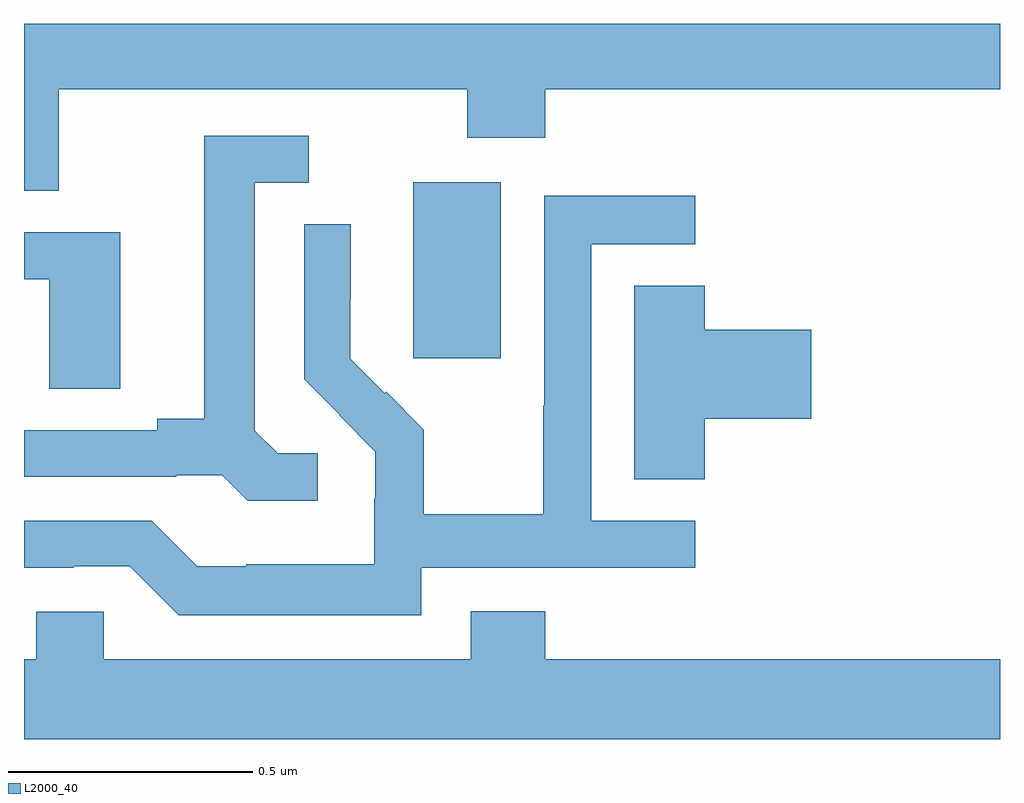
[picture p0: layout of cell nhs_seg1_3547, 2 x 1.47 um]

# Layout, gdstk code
import gdstk
lib = gdstk.Library(unit=1e-6, precision=1e-09)
def R(c, l, rs):  # rectangles x0, y0, x1, y1
    for r in rs: c.add(gdstk.rectangle(r[:2], r[2:], *l))
def P(c, l, *ps):  # polygons
    for p in ps: c.add(gdstk.Polygon(p, *l))
L2000_40 = (2000, 40)

nhs_seg1_3547 = lib.new_cell('nhs_seg1_3547')
R(nhs_seg1_3547, L2000_40, [(155.798,552.513,155.977,552.874)])
P(nhs_seg1_3547, L2000_40, [(155.071,553.064),(155.908,553.064),(155.908,552.965),(156.068,552.965),(156.068,553.064),(157,553.064),(157,553.199),(155,553.199),(155,552.856),(155.071,552.856)],
  [(155.602,552.318),(155.52,552.318),(155.473,552.365),(155.473,552.873),(155.584,552.873),(155.584,552.969),(155.369,552.969),(155.369,552.389),(155.273,552.389),(155.273,552.366),(155,552.366),(155,552.27),(155.312,552.27),(155.312,552.273),(155.406,552.273),(155.458,552.221),(155.602,552.221)],
  [(155.814,552.084),(156.376,552.084),(156.376,552.18),(156.162,552.18),(156.162,552.747),(156.376,552.747),(156.376,552.846),(156.066,552.846),(156.066,552.416),(156.064,552.416),(156.064,552.193),(155.819,552.193),(155.819,552.367),(155.742,552.444),(155.739,552.441),(155.669,552.512),(155.669,552.634),(155.67,552.634),(155.67,552.788),(155.574,552.788),(155.574,552.47),(155.647,552.397),(155.646,552.396),(155.72,552.322),(155.72,552.225),(155.718,552.225),(155.718,552.091),(155.455,552.091),(155.455,552.087),(155.355,552.087),(155.262,552.18),(155,552.18),(155,552.084),(155.102,552.084),(155.102,552.087),(155.217,552.087),(155.317,551.987),(155.814,551.987)],
  [(155.197,552.771),(155,552.771),(155,552.675),(155.052,552.675),(155.052,552.451),(155.197,552.451)],
  [(156.395,552.389),(156.613,552.389),(156.613,552.572),(156.395,552.572),(156.395,552.662),(156.251,552.662),(156.251,552.265),(156.395,552.265)],
  [(157,551.896),(156.068,551.896),(156.068,551.995),(155.915,551.995),(155.915,551.896),(155.163,551.896),(155.163,551.994),(155.025,551.994),(155.025,551.896),(155,551.896),(155,551.732),(157,551.732)])

lib.write_gds('nhs_seg1_3547.gds')
